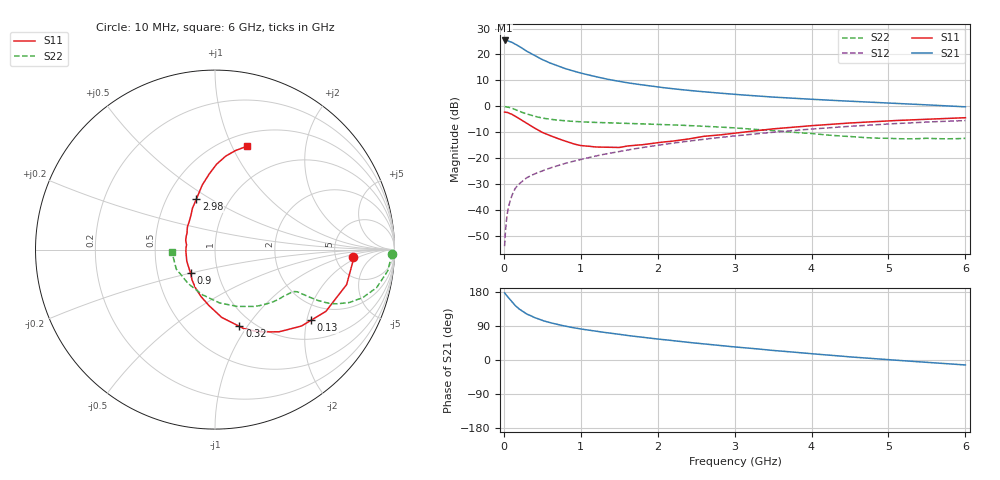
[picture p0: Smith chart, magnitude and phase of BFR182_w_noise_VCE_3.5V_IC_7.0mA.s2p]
! Infineon Technologies  Discrete & RF Semiconductors
! BFR182
! VCE =  3.5 V,  IC =  7.0 mA
! Common Emitter S-Parameters:  Nov 2015
# GHz  S  MA  R  50
!  f  S11  S21  S12  S22
! GHz  MAG  ANG  MAG  ANG  MAG  ANG  MAG  ANG
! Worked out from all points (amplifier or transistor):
!   210 points, 10 MHz to 6 GHz, reference 50 ohm
!   highest |S21| = 25.4 dB at 10 MHz (marker M1)
!   |S21| within 3 dB of that: start of sweep to 237.3 MHz
!   unconditionally stable (mu >= 1): 908.1 MHz to 2.712 GHz
!   at 185 MHz: K = 0.41, MSG = 26.9 dB, |S12| = -30.4 dB
!   at 1.52 GHz: K = 1.06, MAG = 12.0 dB, |S12| = -17.3 dB
!   at 6 GHz: K = 0.89, MSG = 2.7 dB, |S12| = -5.5 dB
!   lowest NFmin = 1.30 dB at 450 MHz
!   S11 on the Smith chart (normalised r, x): 10 MHz: 7.42, -1.58; 130 MHz: 1.51, -2.13; 320 MHz: 0.86, -0.92; 900 MHz: 0.74, -0.20; 2.98 GHz: 0.70, +0.44; 6 GHz: 0.63, +1.14
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0.01  0.7719 -3.2  18.62 177.2  0.002 88.9  0.9867 -1.4
0.02  0.7694 -5.7  18.38 174.4  0.0036 83.4  0.9815 -2.9
0.05  0.7588 -14.9  18.39 166.8  0.0095 82.8  0.9699 -7.0
0.1  0.7073 -29.1  17.31 154.7  0.0181 75.3  0.9246 -13.3
0.13  0.6648 -36.3  16.32 148.1  0.0229 72.4  0.8885 -16.0
0.15  0.6428 -41.5  15.79 143.3  0.0262 71.0  0.8657 -18.0
0.2  0.5798 -52.2  14.36 134.5  0.0319 67.8  0.8045 -21.5
0.26  0.5091 -63.3  12.54 126.1  0.0378 64.9  0.7425 -24.0
0.3  0.4683 -70.0  11.51 121.1  0.042 64.7  0.7097 -25.1
0.32  0.4485 -72.4  11.09 119.5  0.0435 64.4  0.6958 -25.3
0.4  0.3794 -84.4  9.534 111.9  0.0496 63.5  0.6402 -26.3
0.5  0.3138 -96.1  7.961 104.1  0.0566 63.3  0.592 -26.7
0.7  0.2395 -117.0  6.012 93.5  0.0714 64.0  0.5407 -27.0
0.9  0.1896 -135.9  4.792 85.3  0.0866 65.1  0.5112 -27.3
1.02  0.1736 -149.8  4.301 81.3  0.0955 65.2  0.4999 -27.9
1.4  0.1618 176.4  3.211 70.3  0.1257 65.1  0.4776 -31.1
2.02  0.2005 139.4  2.337 55.0  0.1788 62.4  0.4476 -38.5
2.98  0.3006 110.1  1.708 34.9  0.2661 55.2  0.3843 -55.4
3.1  0.3152 107.7  1.657 32.8  0.2772 53.9  0.3731 -58.1
4.1  0.4327 93.2  1.341 14.9  0.3727 43.6  0.2882 -88.7
5.1  0.5317 82.4  1.138 -0.6  0.4642 31.3  0.2376 -133.3
6  0.6018 72.9  0.976 -13.1  0.5301 18.8  0.2406 -177.0
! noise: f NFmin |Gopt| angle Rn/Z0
0.45  1.3  0.26  40  0.29
0.9  1.45  0.25  81  0.23
1.8  2  0.21  157  0.2
